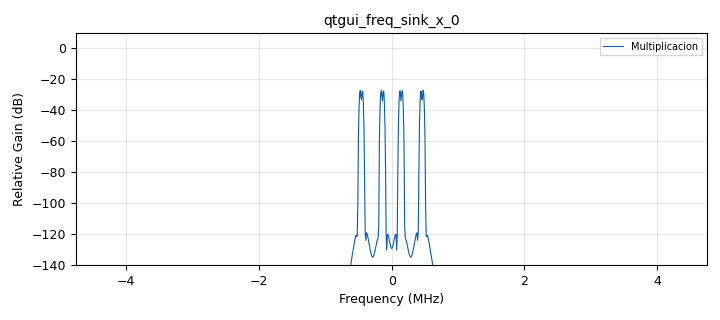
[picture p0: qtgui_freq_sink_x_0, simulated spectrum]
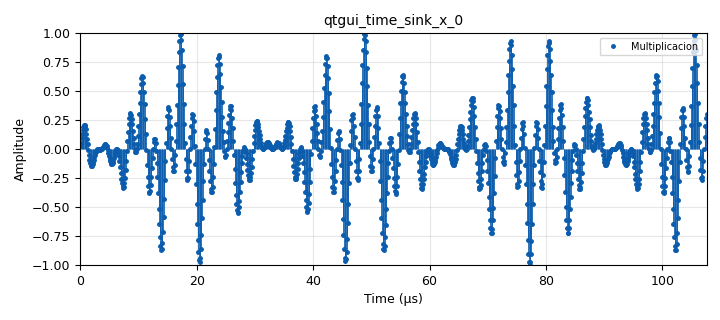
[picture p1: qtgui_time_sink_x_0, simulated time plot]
options:
  parameters:
    generate_options: qt_gui
    id: Practice_1_2
    output_language: python
    title: Practice_1_2
  states: {}

blocks:
- name: freq_a
  id: variable_qtgui_range
  parameters:
    label: FrecuencyA
    start: '1000'
    step: '1000'
    stop: '40000'
    value: '17000'
  states: {}
- name: freq_b
  id: variable_qtgui_range
  parameters:
    label: FrecuencyB
    start: '1000'
    step: '1000'
    stop: '300000'
    value: '300000'
  states: {}
- name: freq_c
  id: variable_qtgui_range
  parameters:
    label: FrecuencyC
    start: '1000'
    step: '1000'
    stop: '200000'
    value: '158500'
  states: {}
- name: samp_rate
  id: variable_qtgui_range
  parameters:
    start: '50000'
    step: '5000'
    stop: '10000000'
    value: '9510000'
  states: {}
- name: analog_sig_source_x_0
  id: analog_sig_source_x
  parameters:
    amp: '1'
    freq: freq_a
    offset: '0'
    phase: '0'
    samp_rate: samp_rate
    type: float
    waveform: analog.GR_COS_WAVE
  states: {}
- name: analog_sig_source_x_0_0
  id: analog_sig_source_x
  parameters:
    amp: '1'
    freq: freq_b
    offset: '0'
    phase: '0'
    samp_rate: samp_rate
    type: float
    waveform: analog.GR_COS_WAVE
  states: {}
- name: analog_sig_source_x_0_1
  id: analog_sig_source_x
  parameters:
    amp: '1'
    freq: freq_c
    offset: '0'
    phase: '0'
    samp_rate: samp_rate
    type: float
    waveform: analog.GR_COS_WAVE
  states: {}
- name: blocks_multiply_xx_0
  id: blocks_multiply_xx
  parameters:
    num_inputs: '3'
    type: float
  states: {}
- name: blocks_throttle_0
  id: blocks_throttle
  parameters:
    samples_per_second: samp_rate
    type: float
  states: {}
- name: qtgui_freq_sink_x_0
  id: qtgui_freq_sink_x
  parameters:
    bw: samp_rate
    fc: '0'
    fftsize: '1024'
    label1: Multiplicacion
    type: float
  states: {}
- name: qtgui_time_sink_x_0
  id: qtgui_time_sink_x
  parameters:
    label1: Multiplicacion
    size: '1024'
    srate: samp_rate
    stemplot: 'True'
    type: float
  states: {}

connections:
- [analog_sig_source_x_0, '0', blocks_multiply_xx_0, '0']
- [analog_sig_source_x_0_0, '0', blocks_multiply_xx_0, '1']
- [analog_sig_source_x_0_1, '0', blocks_multiply_xx_0, '2']
- [blocks_multiply_xx_0, '0', blocks_throttle_0, '0']
- [blocks_throttle_0, '0', qtgui_freq_sink_x_0, '0']
- [blocks_throttle_0, '0', qtgui_time_sink_x_0, '0']

metadata:
  file_format: 1
